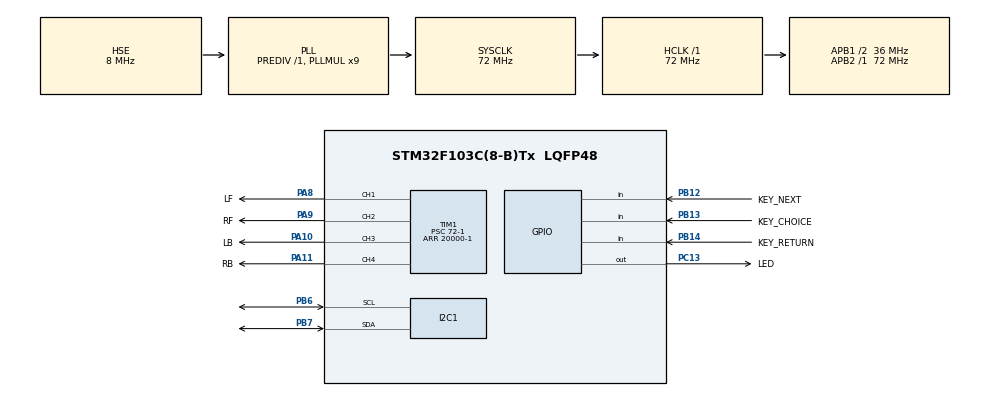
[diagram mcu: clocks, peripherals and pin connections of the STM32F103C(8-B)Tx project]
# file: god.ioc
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Mcu.Family=STM32F1
Mcu.Name=STM32F103C(8-B)Tx
Mcu.Package=LQFP48
NVIC.PriorityGroup=NVIC_PRIORITYGROUP_4
NVIC.TIM2_IRQn=true\:0\:0\:false\:false\:true\:true\:true\:true
PA10.GPIO_Label=LB
PA10.Signal=S_TIM1_CH3
PA11.GPIO_Label=RB
PA11.Signal=S_TIM1_CH4
PA13.Mode=Serial_Wire
PA13.Signal=SYS_JTMS-SWDIO
PA14.Mode=Serial_Wire
PA14.Signal=SYS_JTCK-SWCLK
PA8.GPIO_Label=LF
PA8.Signal=S_TIM1_CH1
PA9.GPIO_Label=RF
PA9.Signal=S_TIM1_CH2
PB12.GPIO_Label=KEY_NEXT
PB12.GPIO_PuPd=GPIO_PULLUP
PB12.Signal=GPIO_Input
PB13.GPIO_Label=KEY_CHOICE
PB13.GPIO_PuPd=GPIO_PULLUP
PB13.Signal=GPIO_Input
PB14.GPIO_Label=KEY_RETURN
PB14.GPIO_PuPd=GPIO_PULLUP
PB14.Signal=GPIO_Input
PB6.Mode=I2C
PB6.Signal=I2C1_SCL
PB7.Mode=I2C
PB7.Signal=I2C1_SDA
PC13-TAMPER-RTC.GPIO_Label=LED
PC13-TAMPER-RTC.Signal=GPIO_Output
PD0-OSC_IN.Mode=HSE-External-Oscillator
PD0-OSC_IN.Signal=RCC_OSC_IN
PD1-OSC_OUT.Mode=HSE-External-Oscillator
PD1-OSC_OUT.Signal=RCC_OSC_OUT
ProjectManager.HeapSize=0x200
ProjectManager.StackSize=0x400
ProjectManager.TargetToolchain=STM32CubeIDE
RCC.AHBFreq_Value=72000000
RCC.APB1CLKDivider=RCC_HCLK_DIV2
RCC.APB1Freq_Value=36000000
RCC.APB1TimFreq_Value=72000000
RCC.APB2Freq_Value=72000000
RCC.APB2TimFreq_Value=72000000
RCC.HCLKFreq_Value=72000000
RCC.PLLMUL=RCC_PLL_MUL9
RCC.PLLSourceVirtual=RCC_PLLSOURCE_HSE
RCC.SYSCLKFreq_VALUE=72000000
RCC.SYSCLKSource=RCC_SYSCLKSOURCE_PLLCLK
RCC.USBFreq_Value=72000000
SH.S_TIM1_CH1.0=TIM1_CH1,PWM Generation1 CH1
SH.S_TIM1_CH2.0=TIM1_CH2,PWM Generation2 CH2
SH.S_TIM1_CH3.0=TIM1_CH3,PWM Generation3 CH3
SH.S_TIM1_CH4.0=TIM1_CH4,PWM Generation4 CH4
TIM1.Channel-PWM\ Generation1\ CH1=TIM_CHANNEL_1
TIM1.Channel-PWM\ Generation2\ CH2=TIM_CHANNEL_2
TIM1.Channel-PWM\ Generation3\ CH3=TIM_CHANNEL_3
TIM1.Channel-PWM\ Generation4\ CH4=TIM_CHANNEL_4
TIM1.Period=20000-1
TIM1.Prescaler=72-1
TIM1.Pulse-PWM\ Generation1\ CH1=1500
TIM1.Pulse-PWM\ Generation2\ CH2=1500
TIM1.Pulse-PWM\ Generation3\ CH3=1500
TIM1.Pulse-PWM\ Generation4\ CH4=1500
TIM2.Period=10-1
TIM2.Prescaler=7200-1
VP_TIM1_VS_ClockSourceINT.Mode=Internal
VP_TIM2_VS_ClockSourceINT.Mode=Internal
board=custom

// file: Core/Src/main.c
/* USER CODE BEGIN Header */
/**
  ******************************************************************************
  * @file           : main.c
  * @brief          : Main program body
  ******************************************************************************
  * @attention
  *
  * Copyright (c) 2026 STMicroelectronics.
  * All rights reserved.
  *
  * This software is licensed under terms that can be found in the LICENSE file
  * in the root directory of this software component.
  * If no LICENSE file comes with this software, it is provided AS-IS.
  *
  ******************************************************************************
  */
/* USER CODE END Header */
#include "main.h"
#include "i2c.h"
#include "tim.h"
#include "gpio.h"

/* USER CODE BEGIN Includes */
#include "pet_state.h"
#include "menu.h"
#include "movement.h"
#include "oled_app.h"
#include "servo.h"
#include "key.h"
#include "stdio.h"
#include "string.h"
/* USER CODE END Includes */

void SystemClock_Config(void);

/* USER CODE BEGIN 0 */
void blink(void){
	HAL_GPIO_WritePin(LED_GPIO_Port, LED_Pin, GPIO_PIN_SET);
    HAL_Delay(300);
    HAL_GPIO_WritePin(LED_GPIO_Port, LED_Pin, GPIO_PIN_RESET);
    HAL_Delay(300);
}
void LED_StartupSelfTest(void){
	blink();
	blink();
	blink();
	HAL_GPIO_WritePin(LED_GPIO_Port, LED_Pin, GPIO_PIN_RESET);
}

int movement=0;
int sequence[4];
int standby=1;//用于检测是否为待机状态
int state=0;//检测状态

/* USER CODE END 0 */

int main(void)
{

  /* MCU Configuration--------------------------------------------------------*/

  /* Reset of all peripherals, Initializes the Flash interface and the Systick. */
  HAL_Init();

  /* Configure the system clock */
  SystemClock_Config();

  /* Initialize all configured peripherals */
  MX_GPIO_Init();
  MX_I2C1_Init();
  MX_TIM1_Init();
  MX_TIM2_Init();
  /* USER CODE BEGIN 2 */
  HAL_Delay(200);
  OLED_DisPlay_On();
  LED_StartupSelfTest();
  OLED_Init();
  Servo_Init();
  HAL_TIM_PWM_Start(&htim1,TIM_CHANNEL_1);
  HAL_TIM_PWM_Start(&htim1,TIM_CHANNEL_2);
  HAL_TIM_PWM_Start(&htim1,TIM_CHANNEL_3);
  HAL_TIM_PWM_Start(&htim1,TIM_CHANNEL_4);
  HAL_TIM_Base_Start_IT(&htim2);
  /* USER CODE END 2 */

  /* Infinite loop */
  /* USER CODE BEGIN WHILE */
  while (1)
  {
  State_Standby();
  Menu_Task();
  PetState_Task();
  movement=0;
  sequence[0]=0;
  sequence[1]=0;
  sequence[2]=0;
  sequence[3]=0;

    /* USER CODE END WHILE */

  }
}

void SystemClock_Config(void)
{
  RCC_OscInitTypeDef RCC_OscInitStruct = {0};
  RCC_ClkInitTypeDef RCC_ClkInitStruct = {0};

  /** Initializes the RCC Oscillators according to the specified parameters
  * in the RCC_OscInitTypeDef structure.
  */
  RCC_OscInitStruct.OscillatorType = RCC_OSCILLATORTYPE_HSE;
  RCC_OscInitStruct.HSEState = RCC_HSE_ON;
  RCC_OscInitStruct.HSEPredivValue = RCC_HSE_PREDIV_DIV1;
  RCC_OscInitStruct.HSIState = RCC_HSI_ON;
  RCC_OscInitStruct.PLL.PLLState = RCC_PLL_ON;
  RCC_OscInitStruct.PLL.PLLSource = RCC_PLLSOURCE_HSE;
  RCC_OscInitStruct.PLL.PLLMUL = RCC_PLL_MUL9;
  if (HAL_RCC_OscConfig(&RCC_OscInitStruct) != HAL_OK)
  {
    Error_Handler();
  }

  /** Initializes the CPU, AHB and APB buses clocks
  */
  RCC_ClkInitStruct.ClockType = RCC_CLOCKTYPE_HCLK|RCC_CLOCKTYPE_SYSCLK
                              |RCC_CLOCKTYPE_PCLK1|RCC_CLOCKTYPE_PCLK2;
  RCC_ClkInitStruct.SYSCLKSource = RCC_SYSCLKSOURCE_PLLCLK;
  RCC_ClkInitStruct.AHBCLKDivider = RCC_SYSCLK_DIV1;
  RCC_ClkInitStruct.APB1CLKDivider = RCC_HCLK_DIV2;
  RCC_ClkInitStruct.APB2CLKDivider = RCC_HCLK_DIV1;

  if (HAL_RCC_ClockConfig(&RCC_ClkInitStruct, FLASH_LATENCY_2) != HAL_OK)
  {
    Error_Handler();
  }
}

/* USER CODE BEGIN 4 */
void HAL_TIM_PeriodElapsedCallback(TIM_HandleTypeDef*htim){
	 if (htim->Instance == TIM2) {
	        static uint32_t cnt = 0;
	        if (moving) {
	            if (++cnt >= 100) {
	                cnt = 0;
	                HAL_GPIO_TogglePin(LED_GPIO_Port, LED_Pin);
	            }
	        } else {
	            cnt = 0;
	            HAL_GPIO_WritePin(LED_GPIO_Port, LED_Pin, GPIO_PIN_RESET);
	        }
	    }
}
/* USER CODE END 4 */

void Error_Handler(void)
{
  __disable_irq();
  while (1)
  {
  }
}
